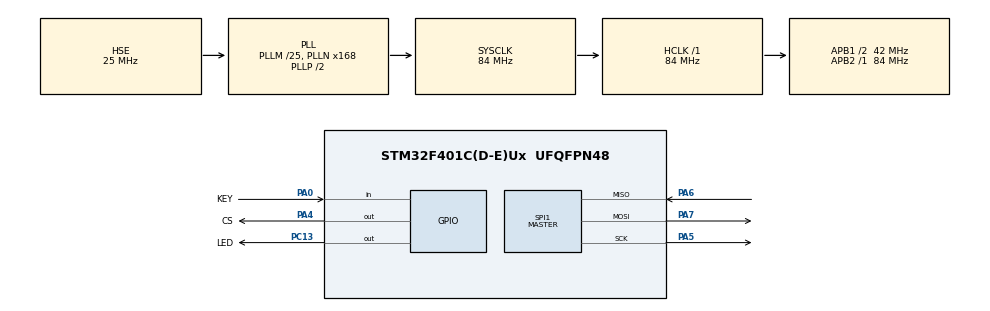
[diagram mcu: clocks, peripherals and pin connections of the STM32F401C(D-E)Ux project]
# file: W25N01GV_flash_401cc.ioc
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FREERTOS.Tasks01=defaultTask,0,128,StartDefaultTask,Default,NULL,Dynamic,NULL,NULL;myTask02,-3,128,StartTask02,Default,NULL,Dynamic,NULL,NULL;myTask03,-3,128,StartTask03,Default,NULL,Dynamic,NULL,NULL
Mcu.Family=STM32F4
Mcu.Name=STM32F401C(D-E)Ux
Mcu.Package=UFQFPN48
NVIC.PriorityGroup=NVIC_PRIORITYGROUP_4
NVIC.TIM1_TRG_COM_TIM11_IRQn=true\:15\:0\:false\:false\:true\:false\:false\:true\:true
NVIC.TimeBase=TIM1_TRG_COM_TIM11_IRQn
NVIC.TimeBaseIP=TIM11
PA0-WKUP.GPIO_Label=KEY
PA0-WKUP.GPIO_PuPd=GPIO_PULLUP
PA0-WKUP.Signal=GPIO_Input
PA13.Mode=Serial_Wire
PA13.Signal=SYS_JTMS-SWDIO
PA14.Mode=Serial_Wire
PA14.Signal=SYS_JTCK-SWCLK
PA4.GPIO_Label=CS
PA4.Signal=GPIO_Output
PA5.Mode=Full_Duplex_Master
PA5.Signal=SPI1_SCK
PA6.Mode=Full_Duplex_Master
PA6.Signal=SPI1_MISO
PA7.Mode=Full_Duplex_Master
PA7.Signal=SPI1_MOSI
PC13-ANTI_TAMP.GPIO_Label=LED
PC13-ANTI_TAMP.Signal=GPIO_Output
PH0\ -\ OSC_IN.Mode=HSE-External-Oscillator
PH0\ -\ OSC_IN.Signal=RCC_OSC_IN
PH1\ -\ OSC_OUT.Mode=HSE-External-Oscillator
PH1\ -\ OSC_OUT.Signal=RCC_OSC_OUT
ProjectManager.HeapSize=0x200
ProjectManager.StackSize=0x400
ProjectManager.TargetToolchain=MDK-ARM V5.32
RCC.48MHZClocksFreq_Value=42000000
RCC.AHBFreq_Value=84000000
RCC.APB1CLKDivider=RCC_HCLK_DIV2
RCC.APB1Freq_Value=42000000
RCC.APB1TimFreq_Value=84000000
RCC.APB2Freq_Value=84000000
RCC.APB2TimFreq_Value=84000000
RCC.CortexFreq_Value=84000000
RCC.HCLKFreq_Value=84000000
RCC.HSE_VALUE=25000000
RCC.HSI_VALUE=16000000
RCC.LSE_VALUE=32768
RCC.PLLM=25
RCC.PLLN=168
RCC.PLLSourceVirtual=RCC_PLLSOURCE_HSE
RCC.SYSCLKFreq_VALUE=84000000
RCC.SYSCLKSource=RCC_SYSCLKSOURCE_PLLCLK
RCC.VCOOutputFreq_Value=168000000
SPI1.BaudRatePrescaler=SPI_BAUDRATEPRESCALER_8
SPI1.Direction=SPI_DIRECTION_2LINES
SPI1.Mode=SPI_MODE_MASTER
SPI1.VirtualType=VM_MASTER
VP_FREERTOS_VS_CMSIS_V1.Mode=CMSIS_V1
VP_SYS_VS_tim11.Mode=TIM11
board=custom

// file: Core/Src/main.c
/* USER CODE BEGIN Header */
/**
  ******************************************************************************
  * @file           : main.c
  * @brief          : Main program body
  ******************************************************************************
  * @attention
  *
  * Copyright (c) 2024 STMicroelectronics.
  * All rights reserved.
  *
  * This software is licensed under terms that can be found in the LICENSE file
  * in the root directory of this software component.
  * If no LICENSE file comes with this software, it is provided AS-IS.
  *
  ******************************************************************************
  */
/* USER CODE END Header */
#include "main.h"
#include "cmsis_os.h"
#include "spi.h"
#include "gpio.h"

/* USER CODE BEGIN Includes */
#include "W25Qx.h"
#include <string.h>
/* USER CODE END Includes */

/* USER CODE BEGIN PV */
uint8_t wData[0x100];
uint8_t rData[0x100];
uint8_t ID[4];
uint32_t i;
/* USER CODE END PV */

void SystemClock_Config(void);
void MX_FREERTOS_Init(void);

int main(void)
{

  /* MCU Configuration--------------------------------------------------------*/

  /* Reset of all peripherals, Initializes the Flash interface and the Systick. */
  HAL_Init();

  /* Configure the system clock */
  SystemClock_Config();

  /* Initialize all configured peripherals */
  MX_GPIO_Init();
  MX_SPI1_Init();
  /* USER CODE BEGIN 2 */
	BSP_W25Qx_Init();
	BSP_W25Qx_Read_ID(ID);

/*##-2- Erase Block ##################################*/
	if(BSP_W25Qx_Erase_Block(0) == W25Qx_OK){}
	else
		Error_Handler();

	/*##-2- Written to the flash ########################*/
	/* fill buffer */
	for(i = 0;i < 0x100;i++)
	{
			wData[i] = i;
		  rData[i] = 0;
	}

	if(BSP_W25Qx_Write(wData,0x00,0x100)== W25Qx_OK){}
	else
		Error_Handler();

	/*##-3- Read the flash     ########################*/
	if(BSP_W25Qx_Read(rData,0x00,0x100)== W25Qx_OK){}
	else
		Error_Handler();

	for(i =0;i<0x100;i++){}

	/*##-4- check date          ########################*/
	if(memcmp(wData,rData,0x100) == 0){}
	else
		Error_Handler();

  /* USER CODE END 2 */

  /* Call init function for freertos objects (in freertos.c) */
  MX_FREERTOS_Init();

  /* Start scheduler */
  osKernelStart();

  /* We should never get here as control is now taken by the scheduler */
  /* Infinite loop */
  while (1)
  {

  }
}

void SystemClock_Config(void)
{
  RCC_OscInitTypeDef RCC_OscInitStruct = {0};
  RCC_ClkInitTypeDef RCC_ClkInitStruct = {0};

  /** Configure the main internal regulator output voltage
  */
  __HAL_RCC_PWR_CLK_ENABLE();
  __HAL_PWR_VOLTAGESCALING_CONFIG(PWR_REGULATOR_VOLTAGE_SCALE2);

  /** Initializes the RCC Oscillators according to the specified parameters
  * in the RCC_OscInitTypeDef structure.
  */
  RCC_OscInitStruct.OscillatorType = RCC_OSCILLATORTYPE_HSE;
  RCC_OscInitStruct.HSEState = RCC_HSE_ON;
  RCC_OscInitStruct.PLL.PLLState = RCC_PLL_ON;
  RCC_OscInitStruct.PLL.PLLSource = RCC_PLLSOURCE_HSE;
  RCC_OscInitStruct.PLL.PLLM = 25;
  RCC_OscInitStruct.PLL.PLLN = 168;
  RCC_OscInitStruct.PLL.PLLP = RCC_PLLP_DIV2;
  RCC_OscInitStruct.PLL.PLLQ = 4;
  if (HAL_RCC_OscConfig(&RCC_OscInitStruct) != HAL_OK)
  {
    Error_Handler();
  }

  /** Initializes the CPU, AHB and APB buses clocks
  */
  RCC_ClkInitStruct.ClockType = RCC_CLOCKTYPE_HCLK|RCC_CLOCKTYPE_SYSCLK
                              |RCC_CLOCKTYPE_PCLK1|RCC_CLOCKTYPE_PCLK2;
  RCC_ClkInitStruct.SYSCLKSource = RCC_SYSCLKSOURCE_PLLCLK;
  RCC_ClkInitStruct.AHBCLKDivider = RCC_SYSCLK_DIV1;
  RCC_ClkInitStruct.APB1CLKDivider = RCC_HCLK_DIV2;
  RCC_ClkInitStruct.APB2CLKDivider = RCC_HCLK_DIV1;

  if (HAL_RCC_ClockConfig(&RCC_ClkInitStruct, FLASH_LATENCY_2) != HAL_OK)
  {
    Error_Handler();
  }
}

void HAL_TIM_PeriodElapsedCallback(TIM_HandleTypeDef *htim)
{
  if (htim->Instance == TIM11) {
    HAL_IncTick();
  }
}

void Error_Handler(void)
{
  __disable_irq();
  while (1)
  {
  }
}

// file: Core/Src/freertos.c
/* USER CODE BEGIN Header */
/**
  ******************************************************************************
  * File Name          : freertos.c
  * Description        : Code for freertos applications
  ******************************************************************************
  * @attention
  *
  * Copyright (c) 2024 STMicroelectronics.
  * All rights reserved.
  *
  * This software is licensed under terms that can be found in the LICENSE file
  * in the root directory of this software component.
  * If no LICENSE file comes with this software, it is provided AS-IS.
  *
  ******************************************************************************
  */
/* USER CODE END Header */

#include "FreeRTOS.h"
#include "task.h"
#include "main.h"
#include "cmsis_os.h"

osThreadId defaultTaskHandle;
osThreadId myTask02Handle;
osThreadId myTask03Handle;

void StartDefaultTask(void const * argument);
void StartTask02(void const * argument);
void StartTask03(void const * argument);

void MX_FREERTOS_Init(void); /* (MISRA C 2004 rule 8.1) */

/* GetIdleTaskMemory prototype (linked to static allocation support) */
void vApplicationGetIdleTaskMemory( StaticTask_t **ppxIdleTaskTCBBuffer, StackType_t **ppxIdleTaskStackBuffer, uint32_t *pulIdleTaskStackSize );

/* USER CODE BEGIN GET_IDLE_TASK_MEMORY */
static StaticTask_t xIdleTaskTCBBuffer;
static StackType_t xIdleStack[configMINIMAL_STACK_SIZE];

void vApplicationGetIdleTaskMemory( StaticTask_t **ppxIdleTaskTCBBuffer, StackType_t **ppxIdleTaskStackBuffer, uint32_t *pulIdleTaskStackSize )
{
  *ppxIdleTaskTCBBuffer = &xIdleTaskTCBBuffer;
  *ppxIdleTaskStackBuffer = &xIdleStack[0];
  *pulIdleTaskStackSize = configMINIMAL_STACK_SIZE;
  /* place for user code */
}
/* USER CODE END GET_IDLE_TASK_MEMORY */

void MX_FREERTOS_Init(void) {

  /* Create the thread(s) */
  /* definition and creation of defaultTask */
  osThreadDef(defaultTask, StartDefaultTask, osPriorityNormal, 0, 128);
  defaultTaskHandle = osThreadCreate(osThread(defaultTask), NULL);

  /* definition and creation of myTask02 */
  osThreadDef(myTask02, StartTask02, osPriorityIdle, 0, 128);
  myTask02Handle = osThreadCreate(osThread(myTask02), NULL);

  /* definition and creation of myTask03 */
  osThreadDef(myTask03, StartTask03, osPriorityIdle, 0, 128);
  myTask03Handle = osThreadCreate(osThread(myTask03), NULL);

}

void StartDefaultTask(void const * argument)
{
  /* USER CODE BEGIN StartDefaultTask */
  /* Infinite loop */
  for(;;)
  {
		HAL_GPIO_WritePin(LED_GPIO_Port,LED_Pin,GPIO_PIN_RESET);
    osDelay(100);
		HAL_GPIO_WritePin(LED_GPIO_Port,LED_Pin,GPIO_PIN_SET);
    osDelay(100);
  }
  /* USER CODE END StartDefaultTask */
}

void StartTask02(void const * argument)
{
  for(;;)
  {
    osDelay(1);
  }
}

void StartTask03(void const * argument)
{
  for(;;)
  {
    osDelay(1);
  }
}
